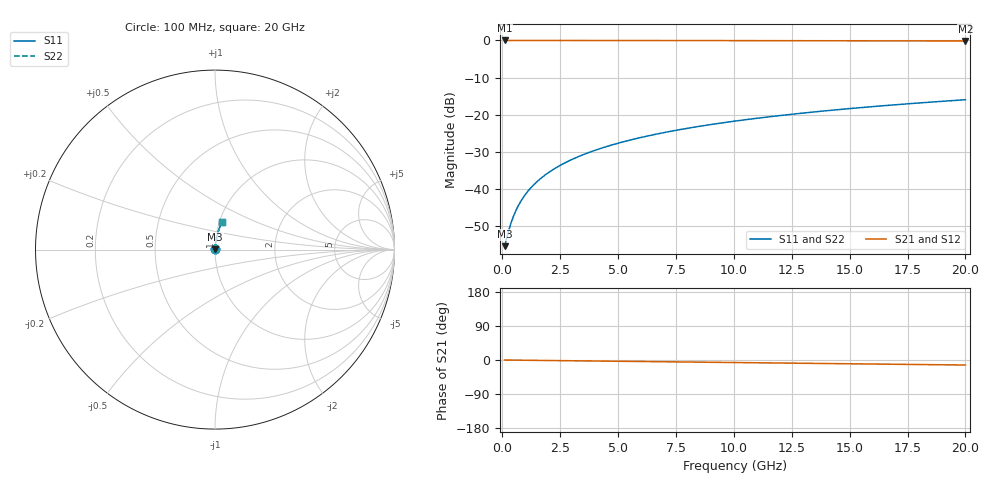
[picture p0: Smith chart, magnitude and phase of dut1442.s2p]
! Touchstone file exported from HFSS 2026.1.0
!  File:  C:/ffzhzh/LocalFiles/Ansys_Project_Files/temp_train_TSV_1442_1783197713_22436.aedt
!  Generated:  04:44:08 AM Jul  5, 2026
!  Design:  TSV
!  Project:  temp_train_TSV_1442_1783197713_22436
! Variables:
!  h_bsmrdl = 2um
!  h_ox = 20um
!  h_rdl = 5um
!  h_sub = 92.31um
!  h_tmrdl = 5um
!  h_tsv = 92.31um
!  h_via = 3um
!  l_bsmrdl = 300um
!  l_sub = 405.36um
!  l_tmrdl = 200um
!  m_sub = 200um
!  pitch = 51.45um
!  r_tsv = 2.68um
!  s_tmrdl = 10um
!  w_bsmrdl = 18um
!  w_sub = 500um
!  w_tmrdl = 12um
!  x_tsv_center1 = 206um
!  x_tsv_center2 = 524um
!  x_tsv_center3 = 736um
!  x_tsv_center4 = 1054um
!  x_tsv_center5 = 1266um
!  x_tsv_center6 = 1584um
# GHz S MA R 50.000000
! Terminal data exported
! Port[1] = TSV1_1_T1
! Port[2] = TSV1_1_T2
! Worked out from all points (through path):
!   200 points, 100 MHz to 20 GHz, reference 50 ohm
!   highest |S21| = -0.01 dB at 100 MHz (marker M1); lowest = -0.1 dB at 20 GHz (marker M2)
!   group delay of S21, straight-line fit = 1.84 ps
!   lowest |S11| = -55.4 dB at 100 MHz (marker M3), VSWR 1.00, Z = 50.1 + j0.0841 ohm
!   |S11| at or under -10 dB: start of sweep to end of sweep
!   |S22| runs from -55.4 to -16.0 dB; largest |S21 - S12| = 4.4e-15
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0.1  0.001703 29.5  0.9985 -0.1  0.9985 -0.1  0.001703 29.5
! Gamma 0 0 0 0
! Port Impedance 50 0 50 0
0.3  0.002924 59.1  0.9985 -0.2  0.9985 -0.2  0.002924 59.1
0.4  0.003669 65.6  0.9985 -0.3  0.9985 -0.3  0.003669 65.6
0.5  0.004444 69.8  0.9985 -0.3  0.9985 -0.3  0.004444 69.8
0.6  0.005235 72.8  0.9985 -0.4  0.9985 -0.4  0.005235 72.8
0.7  0.006035 74.9  0.9985 -0.5  0.9985 -0.5  0.006035 74.9
0.9  0.007655 77.8  0.9984 -0.6  0.9984 -0.6  0.007655 77.8
1.2  0.01011 80.4  0.9984 -0.8  0.9984 -0.8  0.01011 80.4
1.4  0.01175 81.4  0.9984 -1.0  0.9984 -1.0  0.01175 81.4
1.7  0.01422 82.5  0.9983 -1.2  0.9983 -1.2  0.01422 82.5
2.2  0.01834 83.4  0.9982 -1.5  0.9982 -1.5  0.01834 83.4
2.8  0.02329 84.0  0.998 -1.9  0.998 -1.9  0.02329 84.0
3.5  0.02906 84.1  0.9978 -2.4  0.9978 -2.4  0.02906 84.1
4.2  0.03482 84.1  0.9975 -2.8  0.9975 -2.8  0.03482 84.1
5  0.04137 83.9  0.9972 -3.4  0.9972 -3.4  0.04137 83.9
5.9  0.04871 83.5  0.9967 -4.0  0.9967 -4.0  0.04871 83.5
6.8  0.05602 83.1  0.9962 -4.6  0.9962 -4.6  0.05602 83.1
8.3  0.06811 82.3  0.9951 -5.6  0.9951 -5.6  0.06811 82.3
10.1  0.08249 81.2  0.9937 -6.8  0.9937 -6.8  0.08249 81.2
13.4  0.1085 79.3  0.9907 -9.0  0.9907 -9.0  0.1085 79.3
16.7  0.1341 77.3  0.9872 -11.1  0.9872 -11.1  0.1341 77.3
20  0.1592 75.3  0.9831 -13.2  0.9831 -13.2  0.1592 75.3
